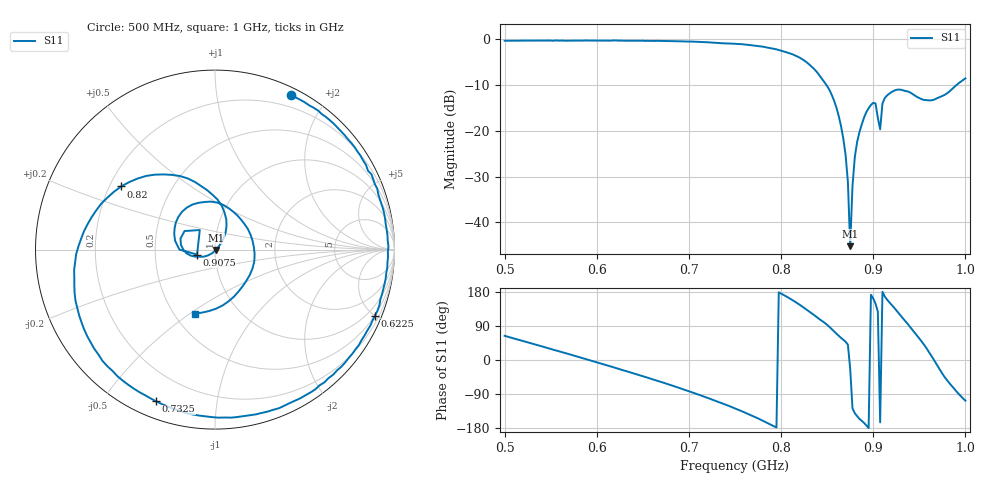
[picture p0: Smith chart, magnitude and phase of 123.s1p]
#  HZ  S  DB  R  50.00
! Rohde & Schwarz ZVA67 4Ports - Version 4.00 - 1305.7002k04 SN: 101051
! Date: 2012-05-12 16:26:55
! Measurement: S22
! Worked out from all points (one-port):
!   201 points, 500 MHz to 1 GHz, reference 50 ohm
!   lowest |S11| = -45.2 dB at 875 MHz (marker M1), VSWR 1.01, Z = 50.5 - j0.22 ohm
!   |S11| at or under -10 dB: 849.2 MHz to 990.4 MHz (141.3 MHz wide, 15.4 % of centre)
!   S11 on the Smith chart (normalised r, x): 500 MHz: 0.07, +1.60; 622.5 MHz: 0.47, -4.96; 732.5 MHz: 0.07, -0.68; 820 MHz: 0.25, +0.29; 907.5 MHz: 0.82, -0.05; 1 GHz: 0.63, -0.52
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5e8  -0.34 63.8
5.625e8  -0.31 20.4
6.225e8  -0.32 -22.6
6.25e8  -0.33 -24.2
6.875e8  -0.46 -72.1
7.325e8  -0.85 -111.2
7.5e8  -1.01 -127.6
7.825e8  -1.74 -162.8
8.125e8  -3.31 157.8
8.2e8  -4.01 146.0
8.375e8  -6.87 115.4
8.525e8  -11.08 87.1
8.625e8  -16.74 63.8
8.7e8  -25.25 48.1
8.725e8  -31.16 40.4
8.75e8  -45.17 -23.3
8.775e8  -31.99 -127.7
8.8e8  -25.75 -140.5
8.85e8  -20.32 -155.5
9e8  -13.90 162.3
9.025e8  -14.03 148.7
9.05e8  -17.20 127.8
9.075e8  -19.68 -164.5
9.1e8  -14.05 180.0
9.125e8  -12.86 167.6
9.375e8  -11.42 95.0
9.7e8  -12.82 -16.5
1e9  -8.55 -107.2
